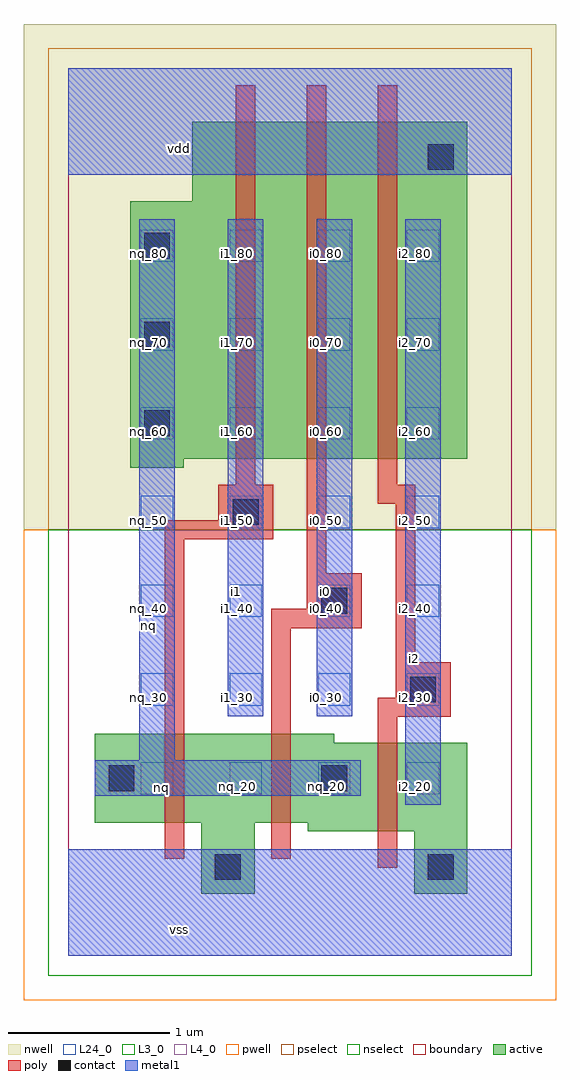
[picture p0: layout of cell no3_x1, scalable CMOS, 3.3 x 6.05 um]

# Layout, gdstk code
import gdstk
lib = gdstk.Library(unit=1e-6, precision=2.5e-09)
def R(c, l, rs):  # rectangles x0, y0, x1, y1
    for r in rs: c.add(gdstk.rectangle(r[:2], r[2:], *l))
def A(c, l, x, y, w, h, nx, ny, dx, dy):  # array of equal rectangles
    R(c, l, [(x+i*dx, y+j*dy, x+i*dx+w, y+j*dy+h) for i in range(nx) for j in range(ny)])
L3_0 = (3, 0)
L4_0 = (4, 0)
L24_0 = (24, 0)
contact = (25, 0)
pwell = (41, 0)
nwell = (42, 0)
active = (43, 0)
pselect = (44, 0)
nselect = (45, 0)
poly = (46, 0)
metal1 = (49, 0)
boundary = (63, 0)

no3_x1 = lib.new_cell('no3_x1')
R(no3_x1, L3_0, [(0.825,0.385,1.155,0.825), (2.145,0.385,2.475,0.77), (1.485,0.77,2.475,0.825), (0.165,0.825,2.475,1.32), (0.165,1.32,1.65,1.375)])
R(no3_x1, L4_0, [(0.385,3.025,0.715,3.08), (0.385,3.08,2.475,4.675), (0.77,4.675,2.475,5.17)])
A(no3_x1, L24_0, 0.45, 1, 0.2, 0.2, 4, 7, 0.55, 0.55)
A(no3_x1, contact, 0.47, 3.22, 0.16, 0.16, 1, 3, 0, 0.55)
R(no3_x1, contact, [(0.91,0.47,1.07,0.63), (2.23,0.47,2.39,0.63), (0.25,1.02,0.41,1.18), (1.57,1.02,1.73,1.18), (2.12,1.57,2.28,1.73), (1.57,2.12,1.73,2.28), (1.02,2.67,1.18,2.83), (2.23,4.87,2.39,5.03)])
R(no3_x1, pwell, [(-0.275,-0.275,3.025,2.64)])
R(no3_x1, nwell, [(-0.275,2.64,3.025,5.775)])
R(no3_x1, active, [(0.825,0.385,1.155,0.825), (2.145,0.385,2.475,0.77), (1.485,0.77,2.475,0.825), (0.165,0.825,2.475,1.32), (0.165,1.32,1.65,1.375), (0.385,3.025,0.715,3.08), (0.385,3.08,2.475,4.675), (0.77,4.675,2.475,5.17)])
R(no3_x1, pselect, [(-0.125,2.64,2.875,5.625)])
R(no3_x1, nselect, [(-0.125,-0.125,2.875,2.64)])
R(no3_x1, poly, [(1.92,0.545,2.04,1.48), (0.6,0.6,0.72,2.58), (1.26,0.6,1.38,2.03), (1.92,1.48,2.37,1.6), (2.03,1.6,2.37,1.82), (2.03,1.82,2.15,2.8), (1.26,2.03,1.82,2.15), (1.48,2.15,1.82,2.37), (1.48,2.37,1.6,5.395), (0.6,2.58,1.27,2.7), (0.93,2.7,1.27,2.92), (1.92,2.8,2.15,2.92), (1.04,2.92,1.16,5.395), (1.92,2.92,2.04,5.395)])
R(no3_x1, metal1, [(0,0,2.75,0.66), (2.09,0.935,2.31,4.565), (0.165,0.99,1.815,1.21), (0.44,1.21,0.66,4.565), (0.99,1.485,1.21,4.565), (1.54,1.485,1.76,4.565), (0,4.84,2.75,5.5)])
R(no3_x1, boundary, [(0,0,2.75,5.5)])
no3_x1.add(gdstk.Label('vss', (0.6875,0.165), layer=49, texttype=0))
no3_x1.add(gdstk.Label('i2', (2.145,1.8425), layer=49, texttype=0))
no3_x1.add(gdstk.Label('nq', (0.5775,1.045), layer=49, texttype=0))
no3_x1.add(gdstk.Label('i0', (1.595,2.255), layer=49, texttype=0))
no3_x1.add(gdstk.Label('i1', (1.045,2.255), layer=49, texttype=0))
no3_x1.add(gdstk.Label('nq', (0.495,2.0475), layer=49, texttype=0))
no3_x1.add(gdstk.Label('vdd', (0.6875,5.005), layer=49, texttype=0))
no3_x1.add(gdstk.Label('nq_20', (1.05,1.05), layer=24, texttype=0))
no3_x1.add(gdstk.Label('nq_20', (1.6,1.05), layer=24, texttype=0))
no3_x1.add(gdstk.Label('nq_20', (0.5,1.05), layer=24, texttype=0))
no3_x1.add(gdstk.Label('i2_80', (2.15,4.35), layer=24, texttype=0))
no3_x1.add(gdstk.Label('i2_70', (2.15,3.8), layer=24, texttype=0))
no3_x1.add(gdstk.Label('i2_60', (2.15,3.25), layer=24, texttype=0))
no3_x1.add(gdstk.Label('i2_50', (2.15,2.7), layer=24, texttype=0))
no3_x1.add(gdstk.Label('i2_40', (2.15,2.15), layer=24, texttype=0))
no3_x1.add(gdstk.Label('i2_30', (2.15,1.6), layer=24, texttype=0))
no3_x1.add(gdstk.Label('i0_80', (1.6,4.35), layer=24, texttype=0))
no3_x1.add(gdstk.Label('i0_70', (1.6,3.8), layer=24, texttype=0))
no3_x1.add(gdstk.Label('i0_60', (1.6,3.25), layer=24, texttype=0))
no3_x1.add(gdstk.Label('i0_50', (1.6,2.7), layer=24, texttype=0))
no3_x1.add(gdstk.Label('i0_40', (1.6,2.15), layer=24, texttype=0))
no3_x1.add(gdstk.Label('i0_30', (1.6,1.6), layer=24, texttype=0))
no3_x1.add(gdstk.Label('i1_30', (1.05,1.6), layer=24, texttype=0))
no3_x1.add(gdstk.Label('i1_40', (1.05,2.15), layer=24, texttype=0))
no3_x1.add(gdstk.Label('i1_50', (1.05,2.7), layer=24, texttype=0))
no3_x1.add(gdstk.Label('i1_60', (1.05,3.25), layer=24, texttype=0))
no3_x1.add(gdstk.Label('i1_70', (1.05,3.8), layer=24, texttype=0))
no3_x1.add(gdstk.Label('i1_80', (1.05,4.35), layer=24, texttype=0))
no3_x1.add(gdstk.Label('nq_30', (0.5,1.6), layer=24, texttype=0))
no3_x1.add(gdstk.Label('nq_40', (0.5,2.15), layer=24, texttype=0))
no3_x1.add(gdstk.Label('nq_50', (0.5,2.7), layer=24, texttype=0))
no3_x1.add(gdstk.Label('nq_60', (0.5,3.25), layer=24, texttype=0))
no3_x1.add(gdstk.Label('nq_70', (0.5,3.8), layer=24, texttype=0))
no3_x1.add(gdstk.Label('nq_80', (0.5,4.35), layer=24, texttype=0))
no3_x1.add(gdstk.Label('i2_20', (2.15,1.05), layer=24, texttype=0))

lib.write_gds('no3_x1.gds')
